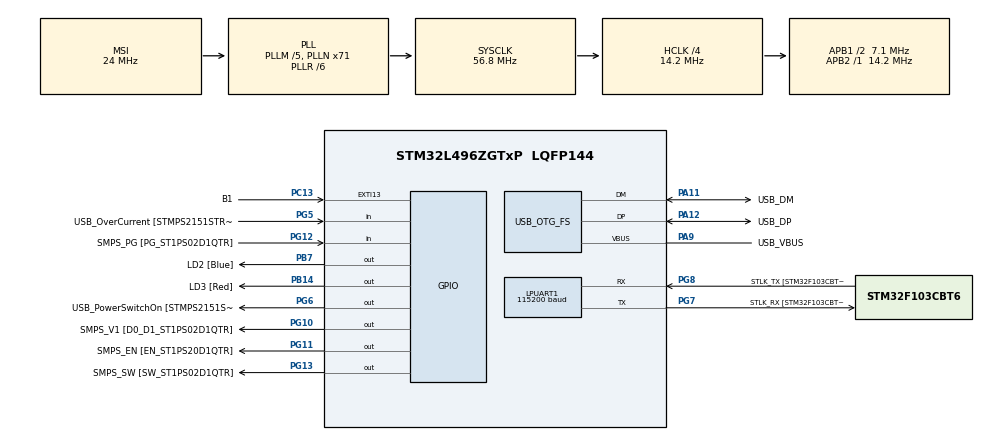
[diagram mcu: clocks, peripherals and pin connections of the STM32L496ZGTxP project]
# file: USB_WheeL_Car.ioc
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LPUART1.BaudRate=115200
LPUART1.WordLength=UART_WORDLENGTH_8B
Mcu.Family=STM32L4
Mcu.Name=STM32L496ZGTxP
Mcu.Package=LQFP144
NVIC.OTG_FS_IRQn=true\:0\:0\:false\:false\:true\:true\:true\:true
NVIC.PriorityGroup=NVIC_PRIORITYGROUP_4
PA10.GPIO_Label=USB_ID
PA10.Signal=USB_OTG_FS_ID
PA11.GPIO_Label=USB_DM
PA11.Mode=Host_Only
PA11.Signal=USB_OTG_FS_DM
PA12.GPIO_Label=USB_DP
PA12.Mode=Host_Only
PA12.Signal=USB_OTG_FS_DP
PA13\ (JTMS/SWDIO).GPIO_Label=TMS
PA13\ (JTMS/SWDIO).Mode=Trace_Asynchronous_SW
PA13\ (JTMS/SWDIO).Signal=SYS_JTMS-SWDIO
PA14\ (JTCK/SWCLK).GPIO_Label=TCK
PA14\ (JTCK/SWCLK).Mode=Trace_Asynchronous_SW
PA14\ (JTCK/SWCLK).Signal=SYS_JTCK-SWCLK
PA8.GPIO_Label=USB_SOF [TP1]
PA8.Signal=USB_OTG_FS_SOF
PA9.GPIO_Label=USB_VBUS
PA9.Mode=Activate_VBUS
PA9.Signal=USB_OTG_FS_VBUS
PB14.GPIO_Label=LD3 [Red]
PB14.Signal=GPIO_Output
PB3\ (JTDO/TRACESWO).GPIO_Label=SWO
PB3\ (JTDO/TRACESWO).Mode=Trace_Asynchronous_SW
PB3\ (JTDO/TRACESWO).Signal=SYS_JTDO-SWO
PB7.GPIO_Label=LD2 [Blue]
PB7.Signal=GPIO_Output
PC13.GPIO_Label=B1
PC13.Signal=GPXTI13
PC14-OSC32_IN\ (PC14).Mode=LSE-External-Oscillator
PC14-OSC32_IN\ (PC14).Signal=RCC_OSC32_IN
PC15-OSC32_OUT\ (PC15).Mode=LSE-External-Oscillator
PC15-OSC32_OUT\ (PC15).Signal=RCC_OSC32_OUT
PG10.GPIO_Label=SMPS_V1 [D0_D1_ST1PS02D1QTR]
PG10.Signal=GPIO_Output
PG11.GPIO_Label=SMPS_EN [EN_ST1PS20D1QTR]
PG11.Signal=GPIO_Output
PG12.GPIO_Label=SMPS_PG [PG_ST1PS02D1QTR]
PG12.Signal=GPIO_Input
PG13.GPIO_Label=SMPS_SW [SW_ST1PS02D1QTR]
PG13.Signal=GPIO_Output
PG5.GPIO_Label=USB_OverCurrent [STMPS2151STR_FAULT]
PG5.Signal=GPIO_Input
PG6.GPIO_Label=USB_PowerSwitchOn [STMPS2151STR_EN]
PG6.Signal=GPIO_Output
PG7.GPIO_Label=STLK_RX [STM32F103CBT6_PA3]
PG7.Mode=Asynchronous
PG7.Signal=LPUART1_TX
PG8.GPIO_Label=STLK_TX [STM32F103CBT6_PA2]
PG8.Mode=Asynchronous
PG8.Signal=LPUART1_RX
PH0-OSC_IN\ (PH0).GPIO_Label=MCO
PH0-OSC_IN\ (PH0).Signal=RCC_OSC_IN
PH1-OSC_OUT\ (PH1).Signal=RCC_OSC_OUT
ProjectManager.HeapSize=0x200
ProjectManager.StackSize=0x400
ProjectManager.TargetToolchain=TrueSTUDIO
RCC.48MHZClocksFreq_Value=24000000
RCC.ADCFreq_Value=48000000
RCC.AHBCLKDivider=RCC_SYSCLK_DIV4
RCC.AHBFreq_Value=14200000
RCC.APB1CLKDivider=RCC_HCLK_DIV2
RCC.APB1Freq_Value=7100000
RCC.APB1TimFreq_Value=14200000
RCC.APB2Freq_Value=14200000
RCC.APB2TimFreq_Value=14200000
RCC.CortexFreq_Value=14200000
RCC.HCLKFreq_Value=14200000
RCC.HSE_VALUE=8000000
RCC.HSI48_VALUE=48000000
RCC.HSI_VALUE=16000000
RCC.MSIClockRange=RCC_MSIRANGE_9
RCC.MSI_VALUE=24000000
RCC.PLLM=5
RCC.PLLMUL=RCC_PLL_MUL9
RCC.PLLN=71
RCC.PLLR=RCC_PLLR_DIV6
RCC.PLLSAI1N=20
RCC.PRESCALERUSB=RCC_USBCLKSOURCE_PLL_DIV1_5
RCC.SYSCLKFreq_VALUE=56800000
RCC.SYSCLKSource=RCC_SYSCLKSOURCE_PLLCLK
RCC.SYSCLKSourceVirtual=RCC_SYSCLKSOURCE_PLLCLK
RCC.USBFreq_Value=48000000
RCC.VCOOutputFreq_Value=340800000
USB_HOST.BSP.number=1
USB_HOST.USBH_DEBUG_LEVEL=3
USB_HOST.USBH_HandleTypeDef=hUsbHostFS
USB_HOST.VirtualModeFS=Hid
USB_HOST0.BSP.STBoard=false
USB_HOST0.BSP.api=UnknownBspDriver
USB_HOST0.BSP.i2caddr=0
USB_HOST0.BSP.i2creg=0
USB_HOST0.BSP.instance=PG6
USB_HOST0.BSP.ip=GPIO
USB_HOST0.BSP.mode=Output
USB_HOST0.BSP.name=Drive_VBUS_FS
USB_HOST0.BSP.solution=PG6
USB_OTG_FS.VirtualMode=Host_Only
USB_OTG_FS.phy_itface=HCD_PHY_EMBEDDED
VP_USB_HOST_VS_USB_HOST_HID_FS.Mode=HID_FS
board=NUCLEO-L496ZG-P

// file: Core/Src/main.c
/* USER CODE BEGIN Header */
/**
  ******************************************************************************
  * @file           : main.c
  * @brief          : Main program body
  ******************************************************************************
  * @attention
  *
  * Copyright (c) 2022 STMicroelectronics.
  * All rights reserved.
  *
  * This software is licensed under terms that can be found in the LICENSE file
  * in the root directory of this software component.
  * If no LICENSE file comes with this software, it is provided AS-IS.
  *
  * Original code: https://github.com/BornaBiro/STM32L496_USB_Host_Game_Ctrl
  * Code is modified to work both with a PS2 USB Controller as well as USB Steering Wheel.
  *
  ******************************************************************************
  */
/* USER CODE END Header */
#include "main.h"
#include "usb_host.h"

/* USER CODE BEGIN Includes */
#include "usbh_hid.h"
#include "usbh_hid_parser.h"
/* USER CODE END Includes */

 UART_HandleTypeDef hlpuart1;

/* USER CODE BEGIN PV */
const char helloMessage[] = {"\r\nCode has started\r\n"};
/* USER CODE END PV */

void SystemClock_Config(void);
static void MX_GPIO_Init(void);
static void MX_LPUART1_UART_Init(void);
void MX_USB_HOST_Process(void);

/* USER CODE BEGIN PFP */
void USBH_HID_EventCallback(USBH_HandleTypeDef *phost)
{
	// Try to get the data from the USB device. Used USB Steering Wheel is "BOXSTER PRO Steering Wheel" and PS2 to USB is some no-name device.
	HID_KEYBD_Info_TypeDef *key;
	key = USBH_HID_GetKeybdInfo(phost);

	// If data is sent by the USB Steering Wheel, send it to the serial with ID = 31 (randomly picked number).
	// VID and PID is used to know what device is connected to the STM32 USB.
	if ((phost->device.DevDesc.idProduct == 0x0005) && (phost->device.DevDesc.idVendor == 0x0c12))
	{
		char tmp[100];

		// Make a formated string of data from the USB Wheel.
		sprintf(tmp, "%d,%d,%d,%d,%d,%d\n\r", 31, 1, key->keys[2], key->keys[3], key->keys[4], key->keys[5]);

		// Send it to the UART.
		HAL_UART_Transmit(&hlpuart1, tmp, strlen(tmp), 1000);
	}

	// If data is sent by the PS2 to USB Controller, send it to the serial with ID = 63 (again, randomly picked number so these two can be easy recognised)
	if ((phost->device.DevDesc.idProduct == 0x0001) && (phost->device.DevDesc.idVendor == 0x0810))
	{
		char tmp[100];

		// Make a formated string of data from the PS2 to USB controller.
		sprintf(tmp, "%d,%d,%d,%d,%d,%d\n\r", 63, key->keys[0], key->keys[3], key->keys[4], key->keys[5], key->keys[6]);

		// Send it to the UART.
		HAL_UART_Transmit(&hlpuart1, tmp, strlen(tmp), 1000);
	}

}
/* USER CODE END PFP */

int main(void)
{

  /* MCU Configuration--------------------------------------------------------*/

  /* Reset of all peripherals, Initializes the Flash interface and the Systick. */
  HAL_Init();

  /* Configure the system clock */
  SystemClock_Config();

  /* Initialize all configured peripherals */
  MX_GPIO_Init();
  MX_LPUART1_UART_Init();
  MX_USB_HOST_Init();
  /* USER CODE BEGIN 2 */
  HAL_UART_Transmit(&hlpuart1, helloMessage, sizeof(helloMessage), 1000);

  /* USER CODE END 2 */

  /* Infinite loop */
  while (1)
  {
    MX_USB_HOST_Process();

  }
}

void SystemClock_Config(void)
{
  RCC_OscInitTypeDef RCC_OscInitStruct = {0};
  RCC_ClkInitTypeDef RCC_ClkInitStruct = {0};

  /** Configure the main internal regulator output voltage
  */
  if (HAL_PWREx_ControlVoltageScaling(PWR_REGULATOR_VOLTAGE_SCALE1) != HAL_OK)
  {
    Error_Handler();
  }

  /** Configure LSE Drive Capability
  */
  HAL_PWR_EnableBkUpAccess();
  __HAL_RCC_LSEDRIVE_CONFIG(RCC_LSEDRIVE_LOW);

  /** Initializes the RCC Oscillators according to the specified parameters
  * in the RCC_OscInitTypeDef structure.
  */
  RCC_OscInitStruct.OscillatorType = RCC_OSCILLATORTYPE_LSE|RCC_OSCILLATORTYPE_MSI;
  RCC_OscInitStruct.LSEState = RCC_LSE_ON;
  RCC_OscInitStruct.MSIState = RCC_MSI_ON;
  RCC_OscInitStruct.MSICalibrationValue = 0;
  RCC_OscInitStruct.MSIClockRange = RCC_MSIRANGE_9;
  RCC_OscInitStruct.PLL.PLLState = RCC_PLL_ON;
  RCC_OscInitStruct.PLL.PLLSource = RCC_PLLSOURCE_MSI;
  RCC_OscInitStruct.PLL.PLLM = 5;
  RCC_OscInitStruct.PLL.PLLN = 71;
  RCC_OscInitStruct.PLL.PLLP = RCC_PLLP_DIV2;
  RCC_OscInitStruct.PLL.PLLQ = RCC_PLLQ_DIV2;
  RCC_OscInitStruct.PLL.PLLR = RCC_PLLR_DIV6;
  if (HAL_RCC_OscConfig(&RCC_OscInitStruct) != HAL_OK)
  {
    Error_Handler();
  }

  /** Initializes the CPU, AHB and APB buses clocks
  */
  RCC_ClkInitStruct.ClockType = RCC_CLOCKTYPE_HCLK|RCC_CLOCKTYPE_SYSCLK
                              |RCC_CLOCKTYPE_PCLK1|RCC_CLOCKTYPE_PCLK2;
  RCC_ClkInitStruct.SYSCLKSource = RCC_SYSCLKSOURCE_PLLCLK;
  RCC_ClkInitStruct.AHBCLKDivider = RCC_SYSCLK_DIV4;
  RCC_ClkInitStruct.APB1CLKDivider = RCC_HCLK_DIV2;
  RCC_ClkInitStruct.APB2CLKDivider = RCC_HCLK_DIV1;

  if (HAL_RCC_ClockConfig(&RCC_ClkInitStruct, FLASH_LATENCY_0) != HAL_OK)
  {
    Error_Handler();
  }

  /** Enable MSI Auto calibration
  */
  HAL_RCCEx_EnableMSIPLLMode();
}

static void MX_LPUART1_UART_Init(void)
{

  hlpuart1.Instance = LPUART1;
  hlpuart1.Init.BaudRate = 115200;
  hlpuart1.Init.WordLength = UART_WORDLENGTH_8B;
  hlpuart1.Init.StopBits = UART_STOPBITS_1;
  hlpuart1.Init.Parity = UART_PARITY_NONE;
  hlpuart1.Init.Mode = UART_MODE_TX_RX;
  hlpuart1.Init.HwFlowCtl = UART_HWCONTROL_NONE;
  hlpuart1.Init.OneBitSampling = UART_ONE_BIT_SAMPLE_DISABLE;
  hlpuart1.AdvancedInit.AdvFeatureInit = UART_ADVFEATURE_NO_INIT;
  if (HAL_UART_Init(&hlpuart1) != HAL_OK)
  {
    Error_Handler();
  }

}

static void MX_GPIO_Init(void)
{
  GPIO_InitTypeDef GPIO_InitStruct = {0};

  /* GPIO Ports Clock Enable */
  __HAL_RCC_GPIOC_CLK_ENABLE();
  __HAL_RCC_GPIOH_CLK_ENABLE();
  __HAL_RCC_GPIOB_CLK_ENABLE();
  __HAL_RCC_GPIOG_CLK_ENABLE();
  HAL_PWREx_EnableVddIO2();
  __HAL_RCC_GPIOA_CLK_ENABLE();

  /*Configure GPIO pin Output Level */
  HAL_GPIO_WritePin(GPIOB, LD3_Pin|LD2_Pin, GPIO_PIN_RESET);

  /*Configure GPIO pin Output Level */
  HAL_GPIO_WritePin(GPIOG, USB_PowerSwitchOn_Pin|SMPS_V1_Pin|SMPS_EN_Pin|SMPS_SW_Pin, GPIO_PIN_RESET);

  /*Configure GPIO pin : B1_Pin */
  GPIO_InitStruct.Pin = B1_Pin;
  GPIO_InitStruct.Mode = GPIO_MODE_IT_RISING;
  GPIO_InitStruct.Pull = GPIO_NOPULL;
  HAL_GPIO_Init(B1_GPIO_Port, &GPIO_InitStruct);

  /*Configure GPIO pins : LD3_Pin LD2_Pin */
  GPIO_InitStruct.Pin = LD3_Pin|LD2_Pin;
  GPIO_InitStruct.Mode = GPIO_MODE_OUTPUT_PP;
  GPIO_InitStruct.Pull = GPIO_NOPULL;
  GPIO_InitStruct.Speed = GPIO_SPEED_FREQ_LOW;
  HAL_GPIO_Init(GPIOB, &GPIO_InitStruct);

  /*Configure GPIO pins : USB_OverCurrent_Pin SMPS_PG_Pin */
  GPIO_InitStruct.Pin = USB_OverCurrent_Pin|SMPS_PG_Pin;
  GPIO_InitStruct.Mode = GPIO_MODE_INPUT;
  GPIO_InitStruct.Pull = GPIO_NOPULL;
  HAL_GPIO_Init(GPIOG, &GPIO_InitStruct);

  /*Configure GPIO pins : USB_PowerSwitchOn_Pin SMPS_V1_Pin SMPS_EN_Pin SMPS_SW_Pin */
  GPIO_InitStruct.Pin = USB_PowerSwitchOn_Pin|SMPS_V1_Pin|SMPS_EN_Pin|SMPS_SW_Pin;
  GPIO_InitStruct.Mode = GPIO_MODE_OUTPUT_PP;
  GPIO_InitStruct.Pull = GPIO_NOPULL;
  GPIO_InitStruct.Speed = GPIO_SPEED_FREQ_LOW;
  HAL_GPIO_Init(GPIOG, &GPIO_InitStruct);

}

/* USER CODE BEGIN 4 */
int __io_putchar(int ch) {
	uint8_t c[1];
	c[0] = ch & 0x00FF;
	HAL_UART_Transmit(&hlpuart1, &*c, 1, 10);
	return ch;
}

int _write(int file, char *ptr, int len) {
	int DataIdx;
	for (DataIdx = 0; DataIdx < len; DataIdx++) {
		__io_putchar(*ptr++);
	}
	return len;
}
/* USER CODE END 4 */

void Error_Handler(void)
{
  __disable_irq();
  while (1)
  {
  }
}
